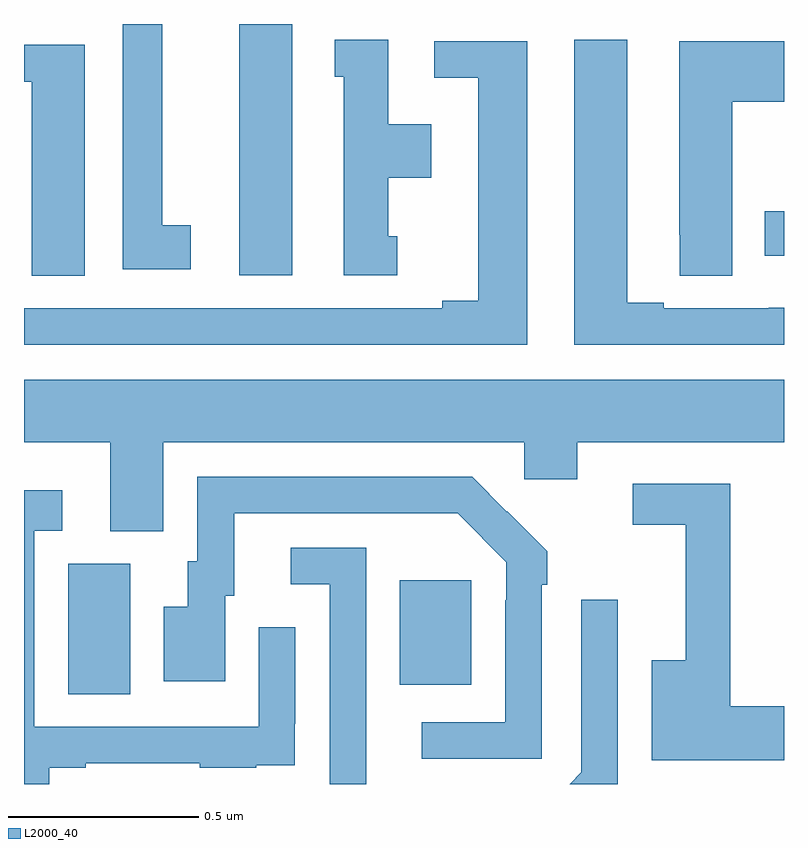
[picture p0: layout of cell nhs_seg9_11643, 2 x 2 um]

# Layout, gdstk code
import gdstk
lib = gdstk.Library(unit=1e-6, precision=1e-09)
def R(c, l, rs):  # rectangles x0, y0, x1, y1
    for r in rs: c.add(gdstk.rectangle(r[:2], r[2:], *l))
def P(c, l, *ps):  # polygons
    for p in ps: c.add(gdstk.Polygon(p, *l))
L2000_40 = (2000, 40)

nhs_seg9_11643 = lib.new_cell('nhs_seg9_11643')
R(nhs_seg9_11643, L2000_40, [(258.116,1215.736,258.28,1216.08), (258.989,1215.761,259.177,1216.036), (258.566,1216.839,258.706,1217.5), (259.949,1216.89,260,1217.007)])
P(nhs_seg9_11643, L2000_40, [(258.439,1216.97),(258.364,1216.97),(258.364,1217.5),(258.26,1217.5),(258.26,1216.854),(258.439,1216.854)],
  [(260,1216.753),(259.96,1216.753),(259.96,1216.752),(259.684,1216.752),(259.684,1216.767),(259.588,1216.767),(259.588,1217.459),(259.448,1217.459),(259.448,1216.656),(260,1216.656)],
  [(258.982,1216.941),(258.958,1216.941),(258.958,1217.096),(259.072,1217.096),(259.072,1217.236),(258.958,1217.236),(258.958,1217.459),(258.818,1217.459),(258.818,1217.361),(258.842,1217.361),(258.842,1216.839),(258.982,1216.839)],
  [(259.864,1217.296),(260,1217.296),(260,1217.455),(259.724,1217.455),(259.724,1216.945),(259.725,1216.945),(259.725,1216.837),(259.864,1216.837)],
  [(259.324,1217.454),(259.08,1217.454),(259.08,1217.358),(259.196,1217.358),(259.196,1216.772),(259.1,1216.772),(259.1,1216.752),(258,1216.752),(258,1216.656),(259.324,1216.656)],
  [(258.16,1217.445),(258,1217.445),(258,1217.348),(258.02,1217.348),(258.02,1216.945),(258.021,1216.945),(258.021,1216.837),(258.16,1216.837)],
  [(258.367,1216.4),(259.317,1216.4),(259.317,1216.302),(259.456,1216.302),(259.456,1216.4),(260,1216.4),(260,1216.564),(258,1216.564),(258,1216.4),(258.227,1216.4),(258.227,1216.165),(258.367,1216.165)],
  [(259.362,1216.025),(259.377,1216.025),(259.377,1216.113),(259.272,1216.218),(259.271,1216.217),(259.18,1216.308),(258.456,1216.308),(258.456,1216.086),(258.431,1216.086),(258.431,1215.967),(258.368,1215.967),(258.368,1215.771),(258.529,1215.771),(258.529,1215.996),(258.553,1215.996),(258.553,1216.212),(259.141,1216.212),(259.269,1216.083),(259.269,1215.983),(259.266,1215.983),(259.266,1215.663),(259.047,1215.663),(259.047,1215.567),(259.362,1215.567)],
  [(260,1215.704),(259.859,1215.704),(259.859,1216.29),(259.602,1216.29),(259.602,1216.182),(259.742,1216.182),(259.742,1215.826),(259.652,1215.826),(259.652,1215.562),(260,1215.562)],
  [(258.067,1215.543),(258.163,1215.543),(258.163,1215.555),(258.463,1215.555),(258.463,1215.543),(258.611,1215.543),(258.611,1215.549),(258.713,1215.549),(258.713,1215.658),(258.714,1215.658),(258.714,1215.913),(258.618,1215.913),(258.618,1215.651),(258.027,1215.651),(258.027,1216.167),(258.1,1216.167),(258.1,1216.273),(258,1216.273),(258,1215.5),(258.067,1215.5)],
  [(258.901,1215.665),(258.9,1215.665),(258.9,1216.122),(258.702,1216.122),(258.702,1216.026),(258.804,1216.026),(258.804,1215.5),(258.901,1215.5)],
  [(259.563,1215.985),(259.467,1215.985),(259.467,1215.531),(259.436,1215.5),(259.563,1215.5)])

lib.write_gds('nhs_seg9_11643.gds')
